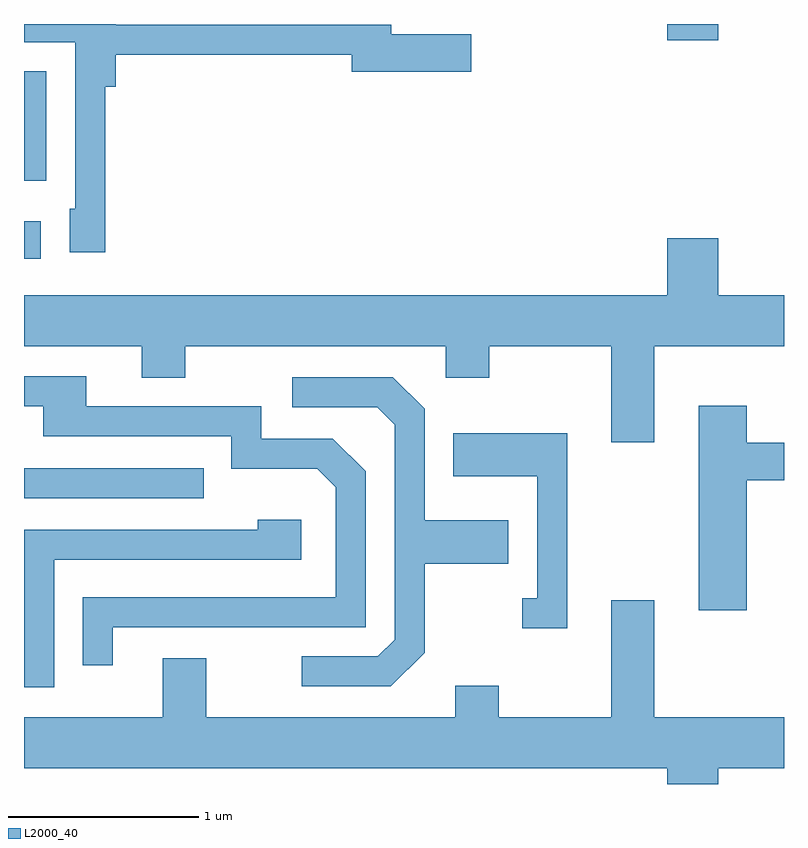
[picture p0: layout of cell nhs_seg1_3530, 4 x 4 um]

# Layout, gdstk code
import gdstk
lib = gdstk.Library(unit=1e-6, precision=1e-09)
def R(c, l, rs):  # rectangles x0, y0, x1, y1
    for r in rs: c.add(gdstk.rectangle(r[:2], r[2:], *l))
def P(c, l, *ps):  # polygons
    for p in ps: c.add(gdstk.Polygon(p, *l))
L2000_40 = (2000, 40)

nhs_seg1_3530 = lib.new_cell('nhs_seg1_3530')
R(nhs_seg1_3530, L2000_40, [(291.611,903.216,292.558,903.374), (291.611,904.476,291.699,904.674), (291.611,904.886,291.729,905.464), (294.996,905.626,295.264,905.712)])
P(nhs_seg1_3530, L2000_40, [(292.039,905.381),(292.094,905.381),(292.094,905.551),(293.336,905.551),(293.336,905.461),(293.964,905.461),(293.964,905.659),(293.544,905.659),(293.544,905.709),(292.094,905.709),(292.094,905.712),(291.611,905.712),(291.611,905.616),(291.881,905.616),(291.881,904.739),(291.851,904.739),(291.851,904.511),(292.039,904.511)],
  [(294.929,904.016),(295.611,904.016),(295.611,904.284),(295.264,904.284),(295.264,904.584),(294.996,904.584),(294.996,904.284),(291.611,904.284),(291.611,904.016),(292.231,904.016),(292.231,903.851),(292.459,903.851),(292.459,904.016),(293.831,904.016),(293.831,903.851),(294.059,903.851),(294.059,904.016),(294.701,904.016),(294.701,903.511),(294.929,903.511)],
  [(292.079,902.536),(293.409,902.536),(293.409,903.357),(293.237,903.529),(292.859,903.529),(292.859,903.699),(291.939,903.699),(291.939,903.859),(291.611,903.859),(291.611,903.701),(291.711,903.701),(291.711,903.541),(292.701,903.541),(292.701,903.371),(293.154,903.371),(293.251,903.274),(293.251,902.694),(291.921,902.694),(291.921,902.338),(292.079,902.338)],
  [(293.719,902.404),(293.719,902.871),(294.159,902.871),(294.159,903.099),(293.719,903.099),(293.719,903.687),(293.552,903.854),(293.023,903.854),(293.023,903.696),(293.469,903.696),(293.561,903.604),(293.561,902.472),(293.474,902.384),(293.073,902.384),(293.073,902.226),(293.542,902.226)],
  [(295.414,903.311),(295.611,903.311),(295.611,903.509),(295.414,903.509),(295.414,903.704),(295.161,903.704),(295.161,902.626),(295.414,902.626)],
  [(294.469,903.559),(293.871,903.559),(293.871,903.331),(294.311,903.331),(294.311,902.689),(294.233,902.689),(294.233,902.531),(294.469,902.531)],
  [(291.769,902.891),(293.069,902.891),(293.069,903.104),(292.841,903.104),(292.841,903.049),(291.611,903.049),(291.611,902.221),(291.769,902.221)],
  [(295.264,901.796),(295.611,901.796),(295.611,902.064),(294.929,902.064),(294.929,902.679),(294.701,902.679),(294.701,902.064),(294.109,902.064),(294.109,902.229),(293.881,902.229),(293.881,902.064),(292.569,902.064),(292.569,902.374),(292.341,902.374),(292.341,902.064),(291.611,902.064),(291.611,901.796),(294.996,901.796),(294.996,901.712),(295.264,901.712)])

lib.write_gds('nhs_seg1_3530.gds')
